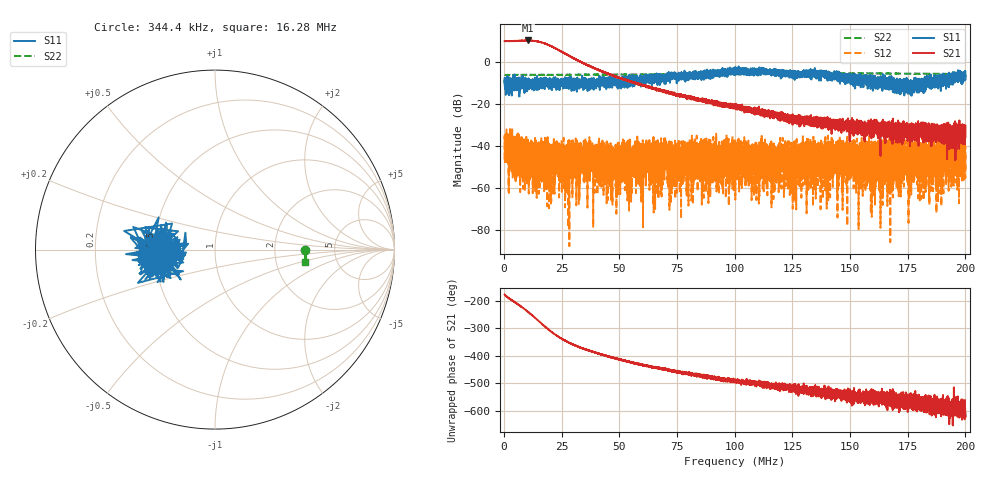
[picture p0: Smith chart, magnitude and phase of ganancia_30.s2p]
# Hz S DB R 50
! CMT, M5065, 19127446, 24.2.4/2
! Date: 10/29/2024 12:31:21 PM
! Data: Format (Calibration Info)
! Freq	S11:dB/Ang(F2)	S21:dB/Ang(F2)	S12:dB/Ang(F2)	S22:dB/Ang(F2)
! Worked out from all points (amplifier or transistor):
!   9000 points, 300 kHz to 200 MHz, reference 50 ohm
!   highest |S21| = 10.5 dB at 10.49 MHz (marker M1)
!   |S21| within 3 dB of that: start of sweep to 20.91 MHz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
!   unconditionally stable (mu >= 1): start of sweep to end of sweep
!   at 33.59 MHz: K = 47.11, MAG = 2.0 dB, |S12| = -43.2 dB
!   at 100.2 MHz: K = 1324.41, MAG = -18.2 dB, |S12| = -54.0 dB
!   at 200 MHz: K = 1362.39, MAG = -29.6 dB, |S12| = -42.5 dB
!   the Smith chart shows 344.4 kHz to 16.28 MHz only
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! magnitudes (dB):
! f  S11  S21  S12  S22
! 300 kHz  -9.8  10.2  -36.3  -6.0
! 4.583 MHz  -10.2  10.2  -46.4  -6.0
! 10.49 MHz  -10.3  10.5  -46.8  -5.9
! 14.41 MHz  -8.8  10.1  -42.8  -5.9
! 16.81 MHz  -10.7  9.4  -47.0  -5.9
! 19.54 MHz  -10.9  8.2  -52.1  -5.9
! 22.42 MHz  -10.7  6.7  -47.5  -5.9
! 27.35 MHz  -11.2  3.7  -41.0  -5.9
! 33.59 MHz  -9.5  0.2  -43.2  -5.9
! 66.87 MHz  -7.0  -13.0  -40.5  -5.7
! 100.2 MHz  -3.8  -21.9  -54.0  -5.6
! 121.7 MHz  -5.3  -25.7  -40.3  -5.5
! 125.8 MHz  -4.3  -26.9  -37.3  -5.4
! 127.8 MHz  -5.3  -27.6  -46.8  -5.4
! 133.4 MHz  -4.3  -27.5  -46.1  -5.3
! 151.5 MHz  -6.6  -35.0  -44.0  -5.2
! 166.7 MHz  -9.4  -31.8  -42.2  -5.3
! 169.4 MHz  -9.1  -31.3  -50.7  -5.3
! 171.2 MHz  -11.4  -36.3  -46.9  -5.3
! 176.7 MHz  -10.4  -32.6  -41.8  -5.4
! 189 MHz  -9.4  -31.0  -46.7  -5.4
! 200 MHz  -4.4  -33.0  -42.5  -5.5
